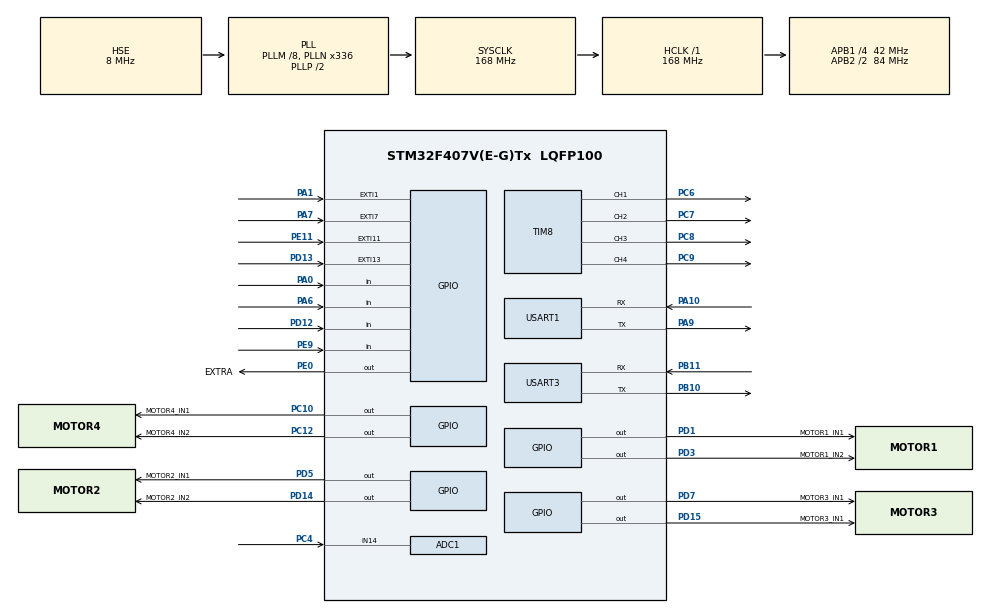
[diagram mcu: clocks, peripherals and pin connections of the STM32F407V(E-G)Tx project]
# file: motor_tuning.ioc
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ADC1.Channel-0\#ChannelRegularConversion=ADC_CHANNEL_14
ADC1.NbrOfConversionFlag=1
ADC1.Rank-0\#ChannelRegularConversion=1
ADC1.SamplingTime-0\#ChannelRegularConversion=ADC_SAMPLETIME_3CYCLES
ADC1.master=1
Mcu.Family=STM32F4
Mcu.Name=STM32F407V(E-G)Tx
Mcu.Package=LQFP100
NVIC.EXTI15_10_IRQn=true\:0\:0\:false\:false\:true\:true
NVIC.EXTI1_IRQn=true\:0\:0\:false\:false\:true\:true
NVIC.EXTI9_5_IRQn=true\:0\:0\:false\:false\:true\:true
NVIC.PriorityGroup=NVIC_PRIORITYGROUP_4
PA0-WKUP.GPIO_PuPd=GPIO_PULLUP
PA0-WKUP.Signal=GPIO_Input
PA1.Signal=GPXTI1
PA10.Mode=Asynchronous
PA10.Signal=USART1_RX
PA13.Mode=Trace_Asynchronous_SW
PA13.Signal=SYS_JTMS-SWDIO
PA14.Mode=Trace_Asynchronous_SW
PA14.Signal=SYS_JTCK-SWCLK
PA6.GPIO_PuPd=GPIO_PULLUP
PA6.Signal=GPIO_Input
PA7.Signal=GPXTI7
PA9.Mode=Asynchronous
PA9.Signal=USART1_TX
PB10.Mode=Asynchronous
PB10.Signal=USART3_TX
PB11.Mode=Asynchronous
PB11.Signal=USART3_RX
PB3.Mode=Trace_Asynchronous_SW
PB3.Signal=SYS_JTDO-SWO
PC10.GPIO_Label=MOTOR4_IN1
PC10.GPIO_Speed=GPIO_SPEED_FREQ_VERY_HIGH
PC10.Signal=GPIO_Output
PC12.GPIO_Label=MOTOR4_IN2
PC12.GPIO_Speed=GPIO_SPEED_FREQ_VERY_HIGH
PC12.Signal=GPIO_Output
PC4.Signal=ADCx_IN14
PC6.Signal=S_TIM8_CH1
PC7.Signal=S_TIM8_CH2
PC8.Signal=S_TIM8_CH3
PC9.Signal=S_TIM8_CH4
PD1.GPIO_Label=MOTOR1_IN1
PD1.GPIO_Speed=GPIO_SPEED_FREQ_VERY_HIGH
PD1.Signal=GPIO_Output
PD12.GPIO_Mode=GPIO_MODE_INPUT
PD12.GPIO_PuPd=GPIO_PULLUP
PD12.Signal=GPIO_Input
PD13.Signal=GPXTI13
PD14.GPIO_Label=MOTOR2_IN2
PD14.GPIO_Speed=GPIO_SPEED_FREQ_VERY_HIGH
PD14.Signal=GPIO_Output
PD15.GPIO_Label=MOTOR3_IN1
PD15.GPIO_Speed=GPIO_SPEED_FREQ_VERY_HIGH
PD15.Signal=GPIO_Output
PD3.GPIO_Label=MOTOR1_IN2
PD3.GPIO_Speed=GPIO_SPEED_FREQ_VERY_HIGH
PD3.Signal=GPIO_Output
PD5.GPIO_Label=MOTOR2_IN1
PD5.GPIO_Speed=GPIO_SPEED_FREQ_VERY_HIGH
PD5.Signal=GPIO_Output
PD7.GPIO_Label=MOTOR3_IN1
PD7.GPIO_Speed=GPIO_SPEED_FREQ_VERY_HIGH
PD7.Signal=GPIO_Output
PE0.GPIO_Label=EXTRA
PE0.GPIO_Speed=GPIO_SPEED_FREQ_VERY_HIGH
PE0.Signal=GPIO_Output
PE11.Signal=GPXTI11
PE9.GPIO_PuPd=GPIO_PULLUP
PE9.Signal=GPIO_Input
PH0-OSC_IN.Mode=HSE-External-Oscillator
PH0-OSC_IN.Signal=RCC_OSC_IN
PH1-OSC_OUT.Mode=HSE-External-Oscillator
PH1-OSC_OUT.Signal=RCC_OSC_OUT
ProjectManager.HeapSize=0x200
ProjectManager.StackSize=0x400
ProjectManager.TargetToolchain=MDK-ARM V5
RCC.48MHZClocksFreq_Value=84000000
RCC.AHBFreq_Value=168000000
RCC.APB1CLKDivider=RCC_HCLK_DIV4
RCC.APB1Freq_Value=42000000
RCC.APB1TimFreq_Value=84000000
RCC.APB2CLKDivider=RCC_HCLK_DIV2
RCC.APB2Freq_Value=84000000
RCC.APB2TimFreq_Value=168000000
RCC.CortexFreq_Value=168000000
RCC.HCLKFreq_Value=168000000
RCC.HSE_VALUE=8000000
RCC.HSI_VALUE=16000000
RCC.LSE_VALUE=32768
RCC.PLLM=8
RCC.PLLN=336
RCC.PLLSourceVirtual=RCC_PLLSOURCE_HSE
RCC.SYSCLKFreq_VALUE=168000000
RCC.SYSCLKSource=RCC_SYSCLKSOURCE_PLLCLK
RCC.VCOOutputFreq_Value=336000000
SH.ADCx_IN14.0=ADC1_IN14,IN14
SH.S_TIM8_CH1.0=TIM8_CH1,PWM Generation1 CH1
SH.S_TIM8_CH2.0=TIM8_CH2,PWM Generation2 CH2
SH.S_TIM8_CH3.0=TIM8_CH3,PWM Generation3 CH3
SH.S_TIM8_CH4.0=TIM8_CH4,PWM Generation4 CH4
TIM8.Channel-PWM\ Generation1\ CH1=TIM_CHANNEL_1
TIM8.Channel-PWM\ Generation2\ CH2=TIM_CHANNEL_2
TIM8.Channel-PWM\ Generation3\ CH3=TIM_CHANNEL_3
TIM8.Channel-PWM\ Generation4\ CH4=TIM_CHANNEL_4
USART1.VirtualMode=VM_ASYNC
USART3.VirtualMode=VM_ASYNC
board=custom

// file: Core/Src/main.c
/**
  ******************************************************************************
  * @file           : main.c
  * @brief          : Main program body
  ******************************************************************************
  ** This notice applies to any and all portions of this file
  * that are not between comment pairs USER CODE BEGIN and
  * USER CODE END. Other portions of this file, whether
  * inserted by the user or by software development tools
  * are owned by their respective copyright owners.
  *
  * COPYRIGHT(c) 2018 STMicroelectronics
  *
  * Redistribution and use in source and binary forms, with or without modification,
  * are permitted provided that the following conditions are met:
  *   1. Redistributions of source code must retain the above copyright notice,
  *      this list of conditions and the following disclaimer.
  *   2. Redistributions in binary form must reproduce the above copyright notice,
  *      this list of conditions and the following disclaimer in the documentation
  *      and/or other materials provided with the distribution.
  *   3. Neither the name of STMicroelectronics nor the names of its contributors
  *      may be used to endorse or promote products derived from this software
  *      without specific prior written permission.
  *
  * THIS SOFTWARE IS PROVIDED BY THE COPYRIGHT HOLDERS AND CONTRIBUTORS "AS IS"
  * AND ANY EXPRESS OR IMPLIED WARRANTIES, INCLUDING, BUT NOT LIMITED TO, THE
  * IMPLIED WARRANTIES OF MERCHANTABILITY AND FITNESS FOR A PARTICULAR PURPOSE ARE
  * DISCLAIMED. IN NO EVENT SHALL THE COPYRIGHT HOLDER OR CONTRIBUTORS BE LIABLE
  * FOR ANY DIRECT, INDIRECT, INCIDENTAL, SPECIAL, EXEMPLARY, OR CONSEQUENTIAL
  * DAMAGES (INCLUDING, BUT NOT LIMITED TO, PROCUREMENT OF SUBSTITUTE GOODS OR
  * SERVICES; LOSS OF USE, DATA, OR PROFITS; OR BUSINESS INTERRUPTION) HOWEVER
  * CAUSED AND ON ANY THEORY OF LIABILITY, WHETHER IN CONTRACT, STRICT LIABILITY,
  * OR TORT (INCLUDING NEGLIGENCE OR OTHERWISE) ARISING IN ANY WAY OUT OF THE USE
  * OF THIS SOFTWARE, EVEN IF ADVISED OF THE POSSIBILITY OF SUCH DAMAGE.
  *
  ******************************************************************************
  */
#include "main.h"
#include "stm32f4xx_hal.h"
#include "adc.h"
#include "tim.h"
#include "usart.h"
#include "gpio.h"
#include "pid.h"

/* USER CODE BEGIN Includes */
#include "robo_init.h"
#include "robot.h"
#include "drive.h"

/* USER CODE END Includes */

#define PI 3.14159
/* USER CODE BEGIN PV */

extern struct encoder e[4];
extern float robotx, roboty;

/* Private variables ---------------------------------------------------------*/

/* USER CODE END PV */

void SystemClock_Config(void);

/* USER CODE BEGIN PFP */
/* Private function prototypes -----------------------------------------------*/

/* USER CODE END PFP */

/* USER CODE BEGIN 0 */

struct __FILE{

int handle;
};

FILE __stdout;
FILE __stdin;

int fputc(int ch, FILE *f)
{
	ITM_SendChar(ch);
	return(ch);
}

/* USER CODE END 0 */

int main(void)
 {
        /* USER CODE BEGIN 1 */
	/*			uint32_t update_tick = HAL_GetTick();
				uint32_t sample_time = 10L;
				struct Str_pid pid[3];
	      float p,i,d;
	  */
        /* USER CODE END 1 */

        /* MCU Configuration----------------------------------------------------------*/

        /* Reset of all peripherals, Initializes the Flash interface and the Systick. */
        HAL_Init();

        /* Configure the system clock */
        SystemClock_Config();

        /* Initialize all configured peripherals */
        MX_GPIO_Init();
        MX_ADC1_Init();
        MX_TIM8_Init();
        MX_USART1_UART_Init();
        MX_USART3_UART_Init();

        /* USER CODE BEGIN 2 */

	wheel_init();
	init_encoder();
        HAL_TIM_Base_Start(&htim8);
        HAL_TIM_PWM_Start(&htim8, TIM_CHANNEL_1);
	HAL_TIM_PWM_Start(&htim8, TIM_CHANNEL_2);
	HAL_TIM_PWM_Start(&htim8, TIM_CHANNEL_3);
	HAL_TIM_PWM_Start(&htim8, TIM_CHANNEL_4);

	robot_speed(20000);

	play();
	//play();
        /* USER CODE END 2 */

        /* Infinite loop */
        /* USER CODE BEGIN WHILE */

	while (1)
        {
		/*calculate_robot_distance();
		printf("%d \t%d \t%d \t%d \t%f \t%f \t%f \t%f \t%f \t%f\n", e[0].count, e[1].count, e[2].count, e[3].count,e[0].distancex, e[1].distancex, e[2].distancex, e[3].distancex, robotx, roboty);
		if (roboty>=4000)
		{
			roboty = 0;
			robot_direction(BACKWARD);
		}
		if(roboty<(-10))
		{
			robot_speed(0);
		}*/

/*if(e[0].count>=249)
		{

			k+=1;
			e[0].count=0;
			if(k>100)
			{
				k=0;
				robot_direction(STOP);
				HAL_Delay(7000);
			}
		}
		robot_direction(FORWARD);
*/		/* USER CODE END WHILE */
                /* USER CODE BEGIN 3 *//*
					if ((HAL_GetTick()- update_tick)> sample_time)
					{
						 update_tick = HAL_GetTick();
		         counts_per_sec[0] = counts[0]*100;

						 countsToOmega(counts_per_sec);
				    printf("%d \n",omega[0]) ;
				  }
					float a;*/

        /* USER CODE END 3 */
	     }
}

void SystemClock_Config(void)
{

        RCC_OscInitTypeDef RCC_OscInitStruct;
        RCC_ClkInitTypeDef RCC_ClkInitStruct;

        /**Configure the main internal regulator output voltage
    */
        __HAL_RCC_PWR_CLK_ENABLE();

        __HAL_PWR_VOLTAGESCALING_CONFIG(PWR_REGULATOR_VOLTAGE_SCALE1);

        /**Initializes the CPU, AHB and APB busses clocks
    */
        RCC_OscInitStruct.OscillatorType = RCC_OSCILLATORTYPE_HSE;
        RCC_OscInitStruct.HSEState = RCC_HSE_ON;
        RCC_OscInitStruct.PLL.PLLState = RCC_PLL_ON;
        RCC_OscInitStruct.PLL.PLLSource = RCC_PLLSOURCE_HSE;
        RCC_OscInitStruct.PLL.PLLM = 8;
        RCC_OscInitStruct.PLL.PLLN = 336;
        RCC_OscInitStruct.PLL.PLLP = RCC_PLLP_DIV2;
        RCC_OscInitStruct.PLL.PLLQ = 4;
        if (HAL_RCC_OscConfig(&RCC_OscInitStruct) != HAL_OK)
        {
                _Error_Handler(__FILE__, __LINE__);
        }

        /**Initializes the CPU, AHB and APB busses clocks
    */
        RCC_ClkInitStruct.ClockType = RCC_CLOCKTYPE_HCLK | RCC_CLOCKTYPE_SYSCLK | RCC_CLOCKTYPE_PCLK1 | RCC_CLOCKTYPE_PCLK2;
        RCC_ClkInitStruct.SYSCLKSource = RCC_SYSCLKSOURCE_PLLCLK;
        RCC_ClkInitStruct.AHBCLKDivider = RCC_SYSCLK_DIV1;
        RCC_ClkInitStruct.APB1CLKDivider = RCC_HCLK_DIV4;
        RCC_ClkInitStruct.APB2CLKDivider = RCC_HCLK_DIV2;

        if (HAL_RCC_ClockConfig(&RCC_ClkInitStruct, FLASH_LATENCY_5) != HAL_OK)
        {
                _Error_Handler(__FILE__, __LINE__);
        }

        /**Configure the Systick interrupt time
    */
        HAL_SYSTICK_Config(HAL_RCC_GetHCLKFreq() / 1000);

        /**Configure the Systick
    */
        HAL_SYSTICK_CLKSourceConfig(SYSTICK_CLKSOURCE_HCLK);

        /* SysTick_IRQn interrupt configuration */
        HAL_NVIC_SetPriority(SysTick_IRQn, 0, 0);
}

void _Error_Handler(char *file, int line)
{
        while (1)
        {
        }
}

/************************ (C) COPYRIGHT STMicroelectronics *****END OF FILE****/
